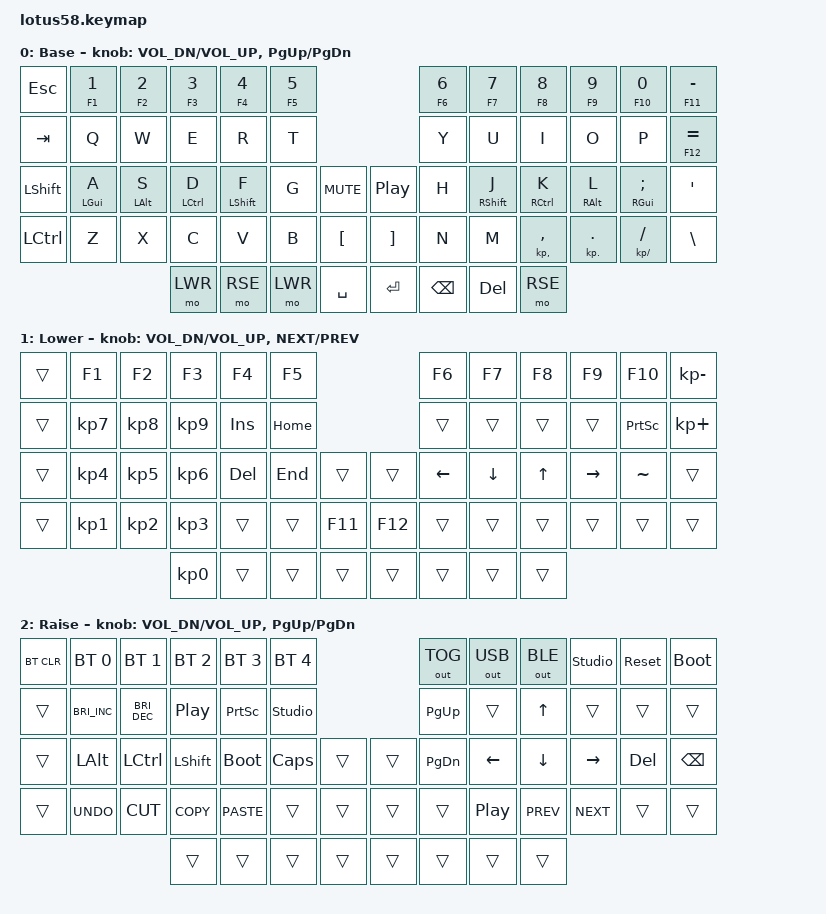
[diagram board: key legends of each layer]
/*
 * Copyright (c) 2022 The ZMK Contributors
 *
 * SPDX-License-Identifier: MIT
 */

#include <behaviors.dtsi>
#include <dt-bindings/zmk/bt.h>
#include <dt-bindings/zmk/keys.h>
#include <dt-bindings/zmk/outputs.h>

/*
 * Key position map (60 positions).
 *
 *   0  1  2  3  4  5              6  7  8  9 10 11
 *  12 13 14 15 16 17             18 19 20 21 22 23
 *  24 25 26 27 28 29 30       31 32 33 34 35 36 37
 *  38 39 40 41 42 43 44       45 46 47 48 49 50 51
 *           52 53 54 55       56 57 58 59
 */

#define LEFT_KEYS   0  1  2  3  4  5 12 13 14 15 16 17 24 25 26 27 28 29 30 38 39 40 41 42 43 44
#define RIGHT_KEYS  6  7  8  9 10 11 18 19 20 21 22 23 31 32 33 34 35 36 37 45 46 47 48 49 50 51
#define THUMBS     52 53 54 55 56 57 58 59

#define DEF 0
#define LWR 1
#define RSE 2

/ {
    combos {
        compatible = "zmk,combos";

        /* Left shift + left outer thumb -> LGUI */
        combo_dsklg {
            timeout-ms = <100>;
            key-positions = <24 52>;
            layers = <DEF>;
            bindings = <&kp LGUI>;
        };

        /* J + K -> ESC, the vim "jk" escape, but at firmware level */
        combo_esc {
            timeout-ms = <50>;
            require-prior-idle-ms = <150>;
            key-positions = <33 34>;
            layers = <DEF>;
            bindings = <&kp ESC>;
        };
    };

    behaviors {
        /*
         * Timeless home row mods.
         *
         * A modifier only engages when the *next* key is on the opposite half
         * (hold-trigger-key-positions), so same-hand rolls during fast typing
         * always resolve as plain letters. require-prior-idle-ms additionally
         * forces a tap whenever the key follows another keystroke closely.
         *
         * This is what plain &mt cannot do: &mt defaults to hold-preferred
         * with a 200ms term and no positional guard, which misfires constantly
         * on the home row.
         */
        hml: home_row_mod_left {
            compatible = "zmk,behavior-hold-tap";
            #binding-cells = <2>;
            flavor = "balanced";
            tapping-term-ms = <280>;
            quick-tap-ms = <175>;
            require-prior-idle-ms = <150>;
            bindings = <&kp>, <&kp>;
            /*
             * TAB (12) is deliberately allowed even though it sits on the left
             * hand: without it Alt+Tab would be impossible, since both Alt and
             * Tab live on the same half.
             */
            hold-trigger-key-positions = <RIGHT_KEYS THUMBS 12>;
            hold-trigger-on-release;
        };

        hmr: home_row_mod_right {
            compatible = "zmk,behavior-hold-tap";
            #binding-cells = <2>;
            flavor = "balanced";
            tapping-term-ms = <280>;
            quick-tap-ms = <175>;
            require-prior-idle-ms = <150>;
            bindings = <&kp>, <&kp>;
            hold-trigger-key-positions = <LEFT_KEYS THUMBS>;
            hold-trigger-on-release;
        };

        /*
         * Number row: tap types the digit, holding reaches the F-key.
         * tap-preferred means any other keypress before the term resolves as
         * a tap, so typing numbers at speed never produces an F-key.
         */
        numfn: num_fn {
            compatible = "zmk,behavior-hold-tap";
            #binding-cells = <2>;
            flavor = "tap-preferred";
            tapping-term-ms = <250>;
            quick-tap-ms = <200>;
            bindings = <&kp>, <&kp>;
        };
    };

    keymap {
        compatible = "zmk,keymap";

        default_layer {
            display-name = "Base";

            // ------------------------------------------------------------------------------------------------------------------
            //  0| ESC   | 1/F1 | 2/F2 | 3/F3 | 4/F4 | 5/F5 |                     | 6/F6 | 7/F7 | 8/F8 | 9/F9 | 0/F10| -/F11 | 11
            // 12| TAB   |  Q   |  W   |  E   |  R   |  T   |                     |  Y   |  U   |  I   |  O   |  P   | =/F12 | 23
            // 24| SHIFT |A/GUI |S/ALT |D/CTRL|F/SHFT|  G   | MUTE |     | PLAY   |  H   |J/SHFT|K/CTRL|L/ALT | ;/GUI|   '   | 37
            // 38| CTRL  |  Z   |  X   |  C   |  V   |  B   |  [   |     |  ]     |  N   |  M   |  ,   |  .   |  /   |   \   | 51
            // 52                      LOWER  | RAISE| LOWER| SPACE|     | ENTER  | BSPC | DEL  | RAISE|                        59
            //
            // J+K -> ESC.  Home row mods only fire together with the other half.
            // , . / additionally reach the numpad variants when held.

            bindings = <
&kp ESC    &numfn F1 N1  &numfn F2 N2  &numfn F3 N3   &numfn F4 N4   &numfn F5 N5                                      &numfn F6 N6      &numfn F7 N7  &numfn F8 N8         &numfn F9 N9    &numfn F10 N0   &numfn F11 MINUS
&kp TAB    &kp Q         &kp W         &kp E          &kp R          &kp T                                             &kp Y             &kp U         &kp I                &kp O           &kp P           &numfn F12 EQUAL
&kp LSHFT  &hml LGUI A   &hml LALT S   &hml LCTRL D   &hml LSHFT F   &kp G         &kp C_MUTE        &kp C_PLAY_PAUSE  &kp H             &hmr RSHFT J  &hmr RCTRL K         &hmr RALT L     &hmr RGUI SEMI  &kp SQT
&kp LCTRL  &kp Z         &kp X         &kp C          &kp V          &kp B         &kp LEFT_BRACKET  &kp RIGHT_BRACKET &kp N             &kp M         &numfn KP_COMMA COMMA &numfn KP_DOT DOT &numfn KP_SLASH FSLH &kp BSLH
                                       &mo LWR        &mo RSE        &mo LWR       &kp SPACE         &kp ENTER         &kp BSPC          &kp DELETE    &mo RSE
            >;

            sensor-bindings = <&inc_dec_kp C_VOL_DN C_VOL_UP &inc_dec_kp PG_UP PG_DN>;
        };

        lower_layer {
            display-name = "Lower";

            // ------------------------------------------------------------------------------------------------------------------
            //  0|       | F1  | F2  | F3  | F4  | F5  |                    | F6  | F7  | F8  | F9  | F10 |  -  | 11
            // 12|       |  7  |  8  |  9  | INS | HOME|                    |     |     |     |     |PSCRN|  +  | 23
            // 24|       |  4  |  5  |  6  | DEL | END |     |     |        |  <- |  v  |  ^  |  -> |  ~  |     | 37
            // 38|       |  1  |  2  |  3  |     |     | F11 |     | F12    |     |     |     |     |     |     | 51
            // 52                      0    |     |     |     |     |       |     |     |     |                   59
            //
            // Numpad under the left hand, vim-style arrows under hjkl on the right.

            bindings = <
&trans  &kp F1       &kp F2       &kp F3       &kp F4     &kp F5                    &kp F6     &kp F7     &kp F8   &kp F9      &kp F10    &kp KP_MINUS
&trans  &kp KP_N7    &kp KP_N8    &kp KP_N9    &kp INS    &kp HOME                  &trans     &trans     &trans   &trans      &kp PSCRN  &kp KP_PLUS
&trans  &kp KP_N4    &kp KP_N5    &kp KP_N6    &kp DEL    &kp END    &trans  &trans &kp LEFT   &kp DOWN   &kp UP   &kp RIGHT   &kp TILDE  &trans
&trans  &kp KP_N1    &kp KP_N2    &kp KP_N3    &trans     &trans     &kp F11 &kp F12 &trans    &trans     &trans   &trans      &trans     &trans
                                  &kp KP_N0    &trans     &trans     &trans  &trans &trans     &trans     &trans
            >;

            sensor-bindings = <&inc_dec_kp C_VOL_DN C_VOL_UP &inc_dec_kp C_NEXT C_PREV>;
        };

        raise_layer {
            display-name = "Raise";

            // ------------------------------------------------------------------------------------------------------------------
            //  0| BTCLR | BT1  | BT2  | BT3  | BT4   | BT5 |                | OUTTOG| OUTUSB| OUTBT | STUDIO| RESET | BOOTL | 11
            // 12|       | BRI+ | BRI- | PLAY | PSCRN |STUDIO|                | PGUP  |       |   ^   |       |       |       | 23
            // 24|       | ALT  | CTRL | SHIFT| BOOTL | CAPS|     |     |    | PGDN  |  <-   |   v   |  ->   |  DEL  | BSPC  | 37
            // 38|       | UNDO | CUT  | COPY | PASTE |     |     |     |    |       | PLAY  | PREV  | NEXT  |       |       | 51
            // 52                       |     |       |     |     |     |    |       |       |       |                         59
            //
            // STUDIO = &studio_unlock, required before ZMK Studio may edit the keymap.
            // Present on BOTH halves on purpose: the left half is the central one and
            // works over USB alone, so unlocking must not depend on the right half.

            bindings = <
&bt BT_CLR  &bt BT_SEL 0          &bt BT_SEL 1          &bt BT_SEL 2      &bt BT_SEL 3  &bt BT_SEL 4                  &out OUT_TOG  &out OUT_USB  &out OUT_BLE  &studio_unlock  &sys_reset  &bootloader
&trans      &kp C_BRIGHTNESS_INC  &kp C_BRIGHTNESS_DEC  &kp C_PLAY_PAUSE  &kp PSCRN     &studio_unlock                &kp PG_UP     &trans        &kp UP        &trans          &trans      &trans
&trans      &kp LALT              &kp LCTRL             &kp LSHFT         &bootloader   &kp CLCK      &trans  &trans  &kp PG_DN     &kp LEFT      &kp DOWN      &kp RIGHT       &kp DEL     &kp BSPC
&trans      &kp K_UNDO            &kp K_CUT             &kp K_COPY        &kp K_PASTE   &trans        &trans  &trans  &trans        &kp C_PP      &kp C_PREV    &kp C_NEXT      &trans      &trans
                                                        &trans            &trans        &trans        &trans  &trans  &trans        &trans        &trans
            >;

            sensor-bindings = <&inc_dec_kp C_VOL_DN C_VOL_UP &inc_dec_kp PG_UP PG_DN>;
        };
    };
};
